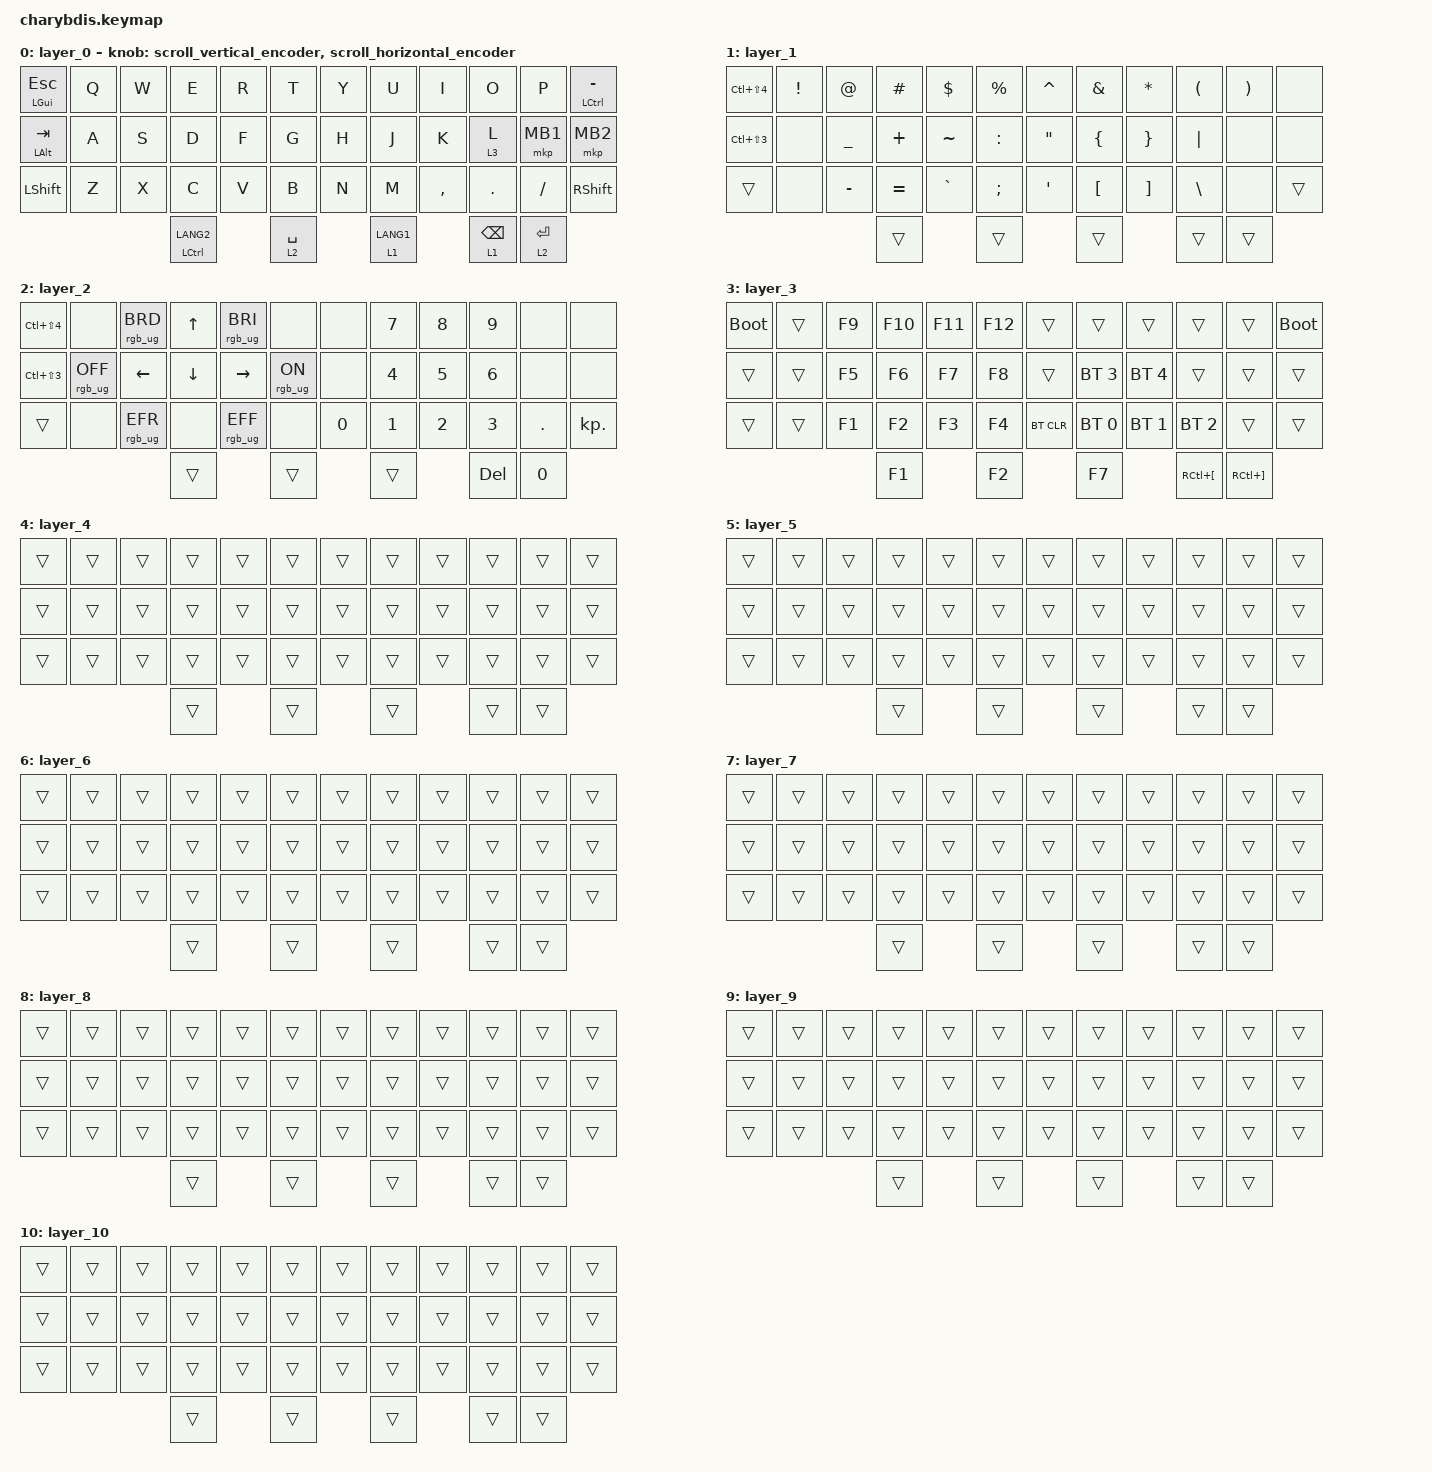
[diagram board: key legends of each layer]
#include <dt-bindings/zmk/mouse.h>
#include <input/processors.dtsi>
#include <zephyr/dt-bindings/input/input-event-codes.h>
#include <behaviors.dtsi>
#include <dt-bindings/zmk/bt.h>
#include <dt-bindings/zmk/keys.h>
#include <dt-bindings/zmk/pointing.h>
#include <dt-bindings/zmk/rgb.h>

#define ZMK_POINTING_DEFAULT_MOVE_VAL 1000 // 600
#define ZMK_POINTING_DEFAULT_SCRL_VAL 12   // 10

&lt {
    tapping-term-ms = <200>;
    flavor = "balanced";
    quick-tap-ms = <150>;
};

&mmv_input_listener { input-processors = <&zip_xy_scaler 2 1>; };

&msc_input_listener { input-processors = <&zip_scroll_scaler 2 1>; };

&msc {
    acceleration-exponent = <0>;      // 0
    time-to-max-speed-ms = <100>;       // 300
    delay-ms = <0>;                   // 0
};

&mmv {
    time-to-max-speed-ms = <500>;
    acceleration-exponent = <1>;
    trigger-period-ms = <16>;
};

/ {
    // 上下滚动编码器行为

    scroll_vertical_encoder: scroll_vertical_encoder {
        compatible = "zmk,behavior-sensor-rotate";
        #sensor-binding-cells = <0>;
        bindings = <&msc SCRL_DOWN>, <&msc SCRL_UP>;

        tap-ms = <100>;
    };

    // 左右滚动编码器行为

    scroll_horizontal_encoder: scroll_horizontal_encoder {
        compatible = "zmk,behavior-sensor-rotate";
        #sensor-binding-cells = <0>;
        bindings = <&msc SCRL_LEFT>, <&msc SCRL_RIGHT>;

        tap-ms = <100>;
    };

    behaviors {
    };

    macros {
        To1_macro: To1_macro {
            compatible = "zmk,behavior-macro";
            label = "To1_macro";
            #binding-cells = <0>;
            bindings = <&rgb_ug RGB_EFF &rgb_ug RGB_COLOR_HSB(128,100,50) &to 1>;
        };

        To1_macro_A: To1_macro_A {
            compatible = "zmk,behavior-macro";
            label = "To1_macro_A";
            #binding-cells = <0>;
            bindings = <&rgb_ug RGB_COLOR_HSB(128,100,50) &to 1>;
        };

        To0_macro: To0_macro {
            compatible = "zmk,behavior-macro";
            label = "To0_macro";
            #binding-cells = <0>;
            bindings = <&rgb_ug RGB_EFR &to 0>;
        };

        To2_macro_A: To2_macro_A {
            compatible = "zmk,behavior-macro";
            label = "To2_macro_A";
            #binding-cells = <0>;
            bindings = <&rgb_ug RGB_COLOR_HSB(250,100,50) &to 2>;
        };

        To2_macro: To2_macro {
            compatible = "zmk,behavior-macro";
            label = "To2_macro";
            #binding-cells = <0>;
            bindings = <&rgb_ug RGB_EFF &rgb_ug RGB_COLOR_HSB(250,100,50) &to 2>;
        };
    };

    keymap {
        compatible = "zmk,keymap";

        layer_0 {
            bindings = <
&mt LGUI ESC    &kp Q  &kp W  &kp E  &kp R  &kp T    &kp Y  &kp U  &kp I      &kp O       &kp P      &mt LCTRL MINUS
&mt LALT TAB    &kp A  &kp S  &kp D  &kp F  &kp G    &kp H  &kp J  &kp K      &lt 3 L     &mkp MB1    &mkp MB2
&kp LEFT_SHIFT  &kp Z  &kp X  &kp C  &kp V  &kp B    &kp N  &kp M  &kp COMMA  &kp PERIOD  &kp SLASH  &kp RIGHT_SHIFT
                              &mt LCTRL LANG2  &lt 2 SPACE  &lt 1 LANG1    &lt 1 BACKSPACE  &lt 2 ENTER
            >;

            sensor-bindings =
                <&scroll_vertical_encoder>,
                // 编码器1：上下滚动,,,
                <&scroll_horizontal_encoder>;

            // 编码器2：左右滚动
        };

        layer_1 {
            bindings = <
&kp LC(LS(N4))  &kp EXCLAMATION  &kp AT_SIGN     &kp HASH        &kp DOLLAR  &kp PERCENT    &kp CARET  &kp AMPERSAND     &kp ASTERISK     &kp LEFT_PARENTHESIS  &kp RIGHT_PARENTHESIS  &none
&kp LC(LS(N3))  &none            &kp UNDERSCORE  &kp PLUS        &kp TILDE   &kp COLON      &kp DOUBLE_QUOTES  &kp LEFT_BRACE  &kp RIGHT_BRACE  &kp PIPE                &none                    &none
&trans          &none            &kp MINUS       &kp EQUAL       &kp GRAVE   &kp SEMICOLON  &kp SQT    &kp LEFT_BRACKET  &kp RIGHT_BRACKET  &kp BACKSLASH           &none                    &trans
                                                    &trans       &trans      &trans          &trans     &trans
            >;
        };

        layer_2 {
            bindings = <
&kp LC(LS(N4))  &none  &rgb_ug RGB_BRD  &kp UP     &rgb_ug RGB_BRI  &none    &none   &kp N7  &kp N8   &kp N9  &none     &none
&kp LC(LS(N3))  &rgb_ug RGB_OFF  &kp LEFT  &kp DOWN   &kp RIGHT  &rgb_ug RGB_ON    &none   &kp N4  &kp N5   &kp N6  &none     &none
&trans          &none  &rgb_ug RGB_EFR  &none  &rgb_ug RGB_EFF  &none    &kp N0  &kp N1  &kp N2   &kp N3  &kp PERIOD  &kp KP_DOT
                                           &trans    &trans   &trans  &kp DELETE  &kp N0
            >;
        };

        layer_3 {
            bindings = <
&bootloader  &trans  &kp F9  &kp F10  &kp F11  &kp F12    &trans        &trans        &trans        &trans  &trans  &bootloader
&trans       &trans  &kp F5  &kp F6   &kp F7   &kp F8     &trans        &bt BT_SEL 3  &bt BT_SEL 4  &trans  &trans  &trans
&trans       &trans  &kp F1  &kp F2   &kp F3   &kp F4     &bt BT_CLR    &bt BT_SEL 0  &bt BT_SEL 1  &bt BT_SEL 2  &trans  &trans
                        &kp F1   &kp F2   &kp F7     &kp RC(LEFT_BRACKET)  &kp RC(RIGHT_BRACKET)
            >;
        };

        layer_4 {
            bindings = <
&trans  &trans  &trans  &trans  &trans  &trans    &trans  &trans  &trans  &trans  &trans  &trans
&trans  &trans  &trans  &trans  &trans  &trans    &trans  &trans  &trans  &trans  &trans  &trans
&trans  &trans  &trans  &trans  &trans  &trans    &trans  &trans  &trans  &trans  &trans  &trans
                        &trans  &trans  &trans    &trans  &trans
            >;
        };

        layer_5 {
            bindings = <
&trans  &trans  &trans  &trans  &trans  &trans    &trans  &trans  &trans  &trans  &trans  &trans
&trans  &trans  &trans  &trans  &trans  &trans    &trans  &trans  &trans  &trans  &trans  &trans
&trans  &trans  &trans  &trans  &trans  &trans    &trans  &trans  &trans  &trans  &trans  &trans
                        &trans  &trans  &trans    &trans  &trans
            >;
        };

        layer_6 {
            bindings = <
&trans  &trans  &trans  &trans  &trans  &trans    &trans  &trans  &trans  &trans  &trans  &trans
&trans  &trans  &trans  &trans  &trans  &trans    &trans  &trans  &trans  &trans  &trans  &trans
&trans  &trans  &trans  &trans  &trans  &trans    &trans  &trans  &trans  &trans  &trans  &trans
                        &trans  &trans  &trans    &trans  &trans
            >;
        };

        layer_7 {
            bindings = <
&trans  &trans  &trans  &trans  &trans  &trans    &trans  &trans  &trans  &trans  &trans  &trans
&trans  &trans  &trans  &trans  &trans  &trans    &trans  &trans  &trans  &trans  &trans  &trans
&trans  &trans  &trans  &trans  &trans  &trans    &trans  &trans  &trans  &trans  &trans  &trans
                        &trans  &trans  &trans    &trans  &trans
            >;
        };

        layer_8 {
            bindings = <
&trans  &trans  &trans  &trans  &trans  &trans    &trans  &trans  &trans  &trans  &trans  &trans
&trans  &trans  &trans  &trans  &trans  &trans    &trans  &trans  &trans  &trans  &trans  &trans
&trans  &trans  &trans  &trans  &trans  &trans    &trans  &trans  &trans  &trans  &trans  &trans
                        &trans  &trans  &trans    &trans  &trans
            >;
        };

        layer_9 {
            bindings = <
&trans  &trans  &trans  &trans  &trans  &trans    &trans  &trans  &trans  &trans  &trans  &trans
&trans  &trans  &trans  &trans  &trans  &trans    &trans  &trans  &trans  &trans  &trans  &trans
&trans  &trans  &trans  &trans  &trans  &trans    &trans  &trans  &trans  &trans  &trans  &trans
                        &trans  &trans  &trans    &trans  &trans
            >;
        };

        layer_10 {
            bindings = <
&trans  &trans  &trans  &trans  &trans  &trans    &trans  &trans  &trans  &trans  &trans  &trans
&trans  &trans  &trans  &trans  &trans  &trans    &trans  &trans  &trans  &trans  &trans  &trans
&trans  &trans  &trans  &trans  &trans  &trans    &trans  &trans  &trans  &trans  &trans  &trans
                        &trans  &trans  &trans    &trans  &trans
            >;
        };

        /* layer_2 {
            bindings = <
&none  &none   &none    &none   &none         &none         &kp N1         &none         &none     &none  &none   &to 0
&none  &none   &none    &none   &none         &none         &none         &none          &rgb_ug RGB_BRD &rgb_ug RGB_BRI  &rgb_ug RGB_EFF   &rgb_ug RGB_TOG
&none  &none   &none    &none   &none         &none         &none         &mkp LCLK     &mkp RCLK  &none  &none   &none
&none  &none   &none    &none   &bt BT_NXT  &bt BT_CLR    &none         &none         &none     &none  &none   &none
                                   &none         &none         &none         &none         &none
                                                 &none         &none         &none
            >;
       
            
        };

       Mouse {
            bindings = <
&none        &none         &none         &none         &none      &none         &none       &none      &none         &none         &none         &none
&none        &bt BT_SEL 0  &bt BT_SEL 1  &bt BT_SEL 3  &none      &bt BT_CLR    &bt BT_CLR  &none      &bt BT_SEL 2  &bt BT_SEL 1  &bt BT_SEL 0  &none
&none        &trans        &trans        &mkp MCLK     &trans     &none         &none       &trans     &mkp MCLK     &trans        &trans        &none
&bootloader  &trans        &mkp RCLK     &mo 4         &mkp LCLK  &mo 5         &mo 5       &mkp LCLK  &mo 4         &mkp RCLK     &trans        &bootloader
                                         &mo 5         &mkp LCLK  &mkp RCLK     &mkp RCLK   &mkp LCLK
                                                       &none      &trans        &trans
            >;

            
        };

        layer_4 {
            bindings = <
&trans  &trans  &trans     &trans     &trans     &trans       &trans     &trans     &trans     &trans     &trans  &trans
&trans  &trans  &trans     &trans     &trans     &trans       &trans     &trans     &trans     &trans     &trans  &trans
&trans  &trans  &trans     &mkp MCLK  &trans     &trans       &trans     &trans     &mkp MCLK  &trans     &trans  &trans
&trans  &trans  &mkp RCLK  &trans     &mkp LCLK  &trans       &trans     &mkp LCLK  &trans     &mkp RCLK  &trans  &trans
                           &trans     &mkp LCLK  &mkp RCLK    &mkp RCLK  &mkp LCLK
                                      &trans     &trans       &trans
            >;
                
                
               
        };

        layer_5 {
            bindings = <
&trans  &trans  &trans     &trans     &trans     &trans       &trans     &trans     &trans     &trans     &trans  &trans
&trans  &trans  &trans     &trans     &trans     &trans       &trans     &trans     &trans     &trans     &trans  &trans
&trans  &trans  &trans     &mkp MCLK  &trans     &trans       &trans     &trans     &mkp MCLK  &trans     &trans  &trans
&trans  &trans  &mkp RCLK  &trans     &mkp LCLK  &trans       &trans     &mkp LCLK  &trans     &mkp RCLK  &trans  &trans
                           &trans     &mkp LCLK  &mkp RCLK    &mkp RCLK  &mkp LCLK
                                      &trans     &trans       &trans
            >;
                
                
        };*/
    };
};
